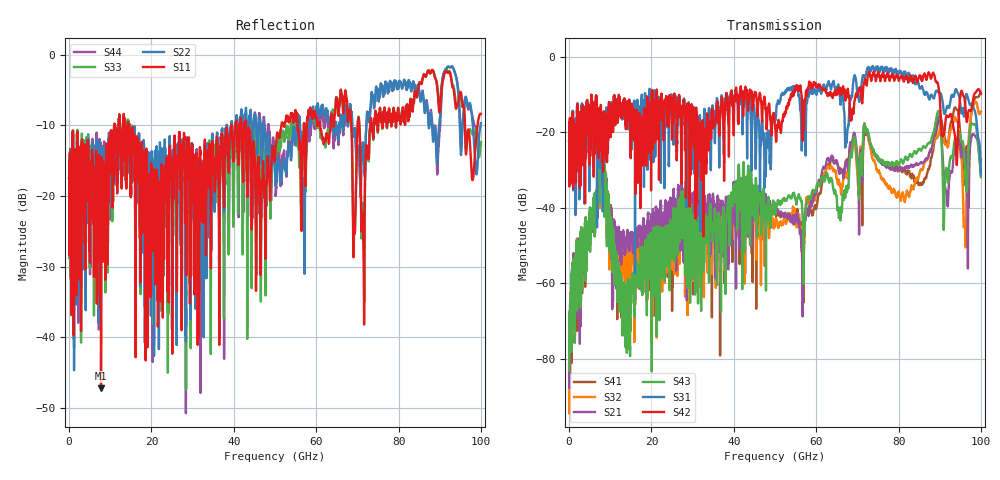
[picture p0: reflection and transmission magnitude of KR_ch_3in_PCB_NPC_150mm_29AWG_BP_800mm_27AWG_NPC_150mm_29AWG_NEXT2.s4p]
# GHz S RI R 45
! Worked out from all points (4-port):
!   4000 points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, 25 MHz to 100 GHz, reference 45 ohm
!   strongest paths, dB at 25 MHz, 25.02 GHz, 50.02 GHz, 75.03 GHz, 100 GHz:
!     S42: -22.2, -20.8, -18.7, -4.1, -9.8
!     S31: -22.2, -15.9, -16.6, -3.0, -31.1
!     S43: -83.1, -50.4, -40.9, -26.3, -31.8
!     S21: -80.8, -47.6, -40.5, -27.2, -27.3
!     S32: -83.1, -50.5, -44.9, -30.5, -14.5
!     S41: -87.9, -67.3, -40.8, -27.2, -9.6
!   lowest |S11| = -47.2 dB at 7.775 GHz (marker M1), VSWR 1.01, Z = 44.7 + j0.252 ohm
!   |S11| at or under -10 dB: start of sweep to 10.99 GHz; 14.43 GHz to 39.39 GHz (24.96 GHz wide, 92.8 % of centre); 42.93 GHz to 51.57 GHz (8.635 GHz wide, 18.3 % of centre)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
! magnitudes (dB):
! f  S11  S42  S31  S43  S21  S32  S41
! 25 MHz  -17.4  -22.2  -22.2  -83.1  -80.8  -83.1  -87.9
! 7.775 GHz  -47.2  -16.5  -18.4  -26.3  -27.1  -26.7  -26.6
! 14.32 GHz  -9.5  -13.7  -15.8  -61.3  -47.8  -50.1  -47.5
! 71.95 GHz  -15.2  -6.4  -5.3  -18.8  -19.3  -18.8  -20.1
! 93.95 GHz  -7.6  -24.3  -8.5  -21.8  -23.2  -16.7  -13.7
! 96.1 GHz  -9.6  -11.7  -13.2  -28.5  -24.6  -44.5  -27.3
! 100 GHz  -8.4  -9.8  -31.1  -31.8  -27.3  -14.5  -9.6
